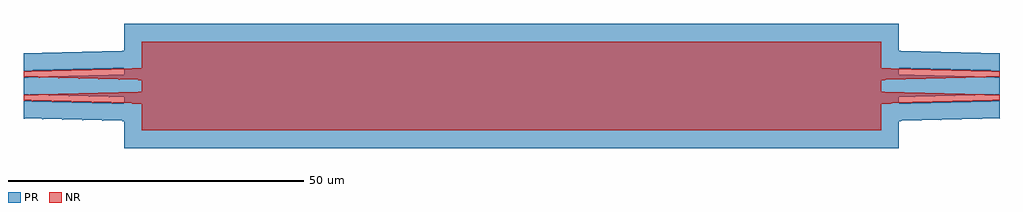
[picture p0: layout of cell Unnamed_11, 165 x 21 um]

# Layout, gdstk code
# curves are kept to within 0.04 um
import gdstk
lib = gdstk.Library(unit=1e-6, precision=1e-09)
def R(c, l, rs):  # rectangles x0, y0, x1, y1
    for r in rs: c.add(gdstk.rectangle(r[:2], r[2:], *l))
def P(c, l, *ps):  # polygons
    for p in ps: c.add(gdstk.Polygon(p, *l))
PR = (60, 0)
NR = (61, 0)

ng_10 = lib.new_cell('ng_10')
R(ng_10, NR, [(0,-7.5,125,7.5)])
P(ng_10, NR, [(125,-3),(125,-1),(145,-1.5),(145,-2.5)],
  [(125,1),(125,3),(145,2.5),(145,1.5)],
  [(0,-3),(-20,-2.5),(-20,-1.5),(0,-1)],
  [(0,1),(-20,1.5),(-20,2.5),(0,3)])

unnamed_9 = lib.new_cell('Unnamed_9')
R(unnamed_9, PR, [(-3,-10.5,128,10.5)])
P(unnamed_9, PR, [(0,-6),(-20,-5.5),(-20,-2.5),(0,-3)],
  [(0,-2),(-20,-1.5),(-20,1.5),(0,1)],
  [(145,-1.5),(125,-1),(125,2),(145,1.5)],
  [(145,2.5),(125,3),(125,6),(145,5.5)],
  [(125,-6),(125,-3),(145,-2.5),(145,-5.5)],
  [(125,-2),(125,1),(145,1.5),(145,-1.5)],
  [(-20,-1.5),(-20,1.5),(0,2),(0,-1)],
  [(-20,2.5),(-20,5.5),(0,6),(0,3)])

unnamed_11 = lib.new_cell('Unnamed_11')
unnamed_11.add(gdstk.Reference(ng_10, (0,0)))
unnamed_11.add(gdstk.Reference(unnamed_9, (0,0)))

lib.write_gds('Unnamed_11.gds')
